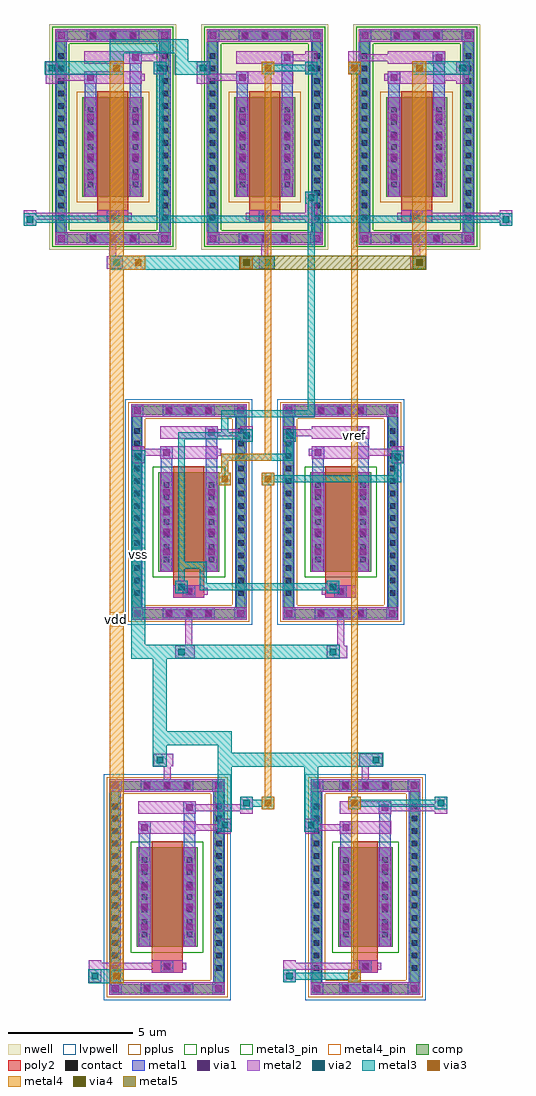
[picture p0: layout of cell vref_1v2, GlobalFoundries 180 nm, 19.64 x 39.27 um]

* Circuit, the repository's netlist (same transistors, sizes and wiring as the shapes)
.lib "/home/huda/.volare/gf180mcuD/libs.tech/ngspice/sm141064.ngspice" typical
.subckt vref_1v2 vdd vss vref
XM3  d1   d1   vdd  vdd  pfet_03v3 L=1.25u W=4u nf=1
XM4  d2   d1   vdd  vdd  pfet_03v3 L=1.25u W=4u nf=1
XM5  vref d1   vdd  vdd  pfet_03v3 L=1.25u W=4u nf=1
XM1  d1   d1   vss  vss  nfet_03v3 L=1.25u W=4u nf=1
XM2  d2   d1   src2 vss  nfet_03v3 L=1.25u W=4u nf=1
XM_r src2 vdd  vss  vss  nfet_03v3 L=1.25u W=4u nf=1
XM6  vref vref vss  vss  nfet_03v3 L=1u    W=4u nf=1
.ends

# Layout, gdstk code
import gdstk
lib = gdstk.Library(unit=1e-6, precision=5e-09)
def R(c, l, rs):  # rectangles x0, y0, x1, y1
    for r in rs: c.add(gdstk.rectangle(r[:2], r[2:], *l))
def A(c, l, x, y, w, h, nx, ny, dx, dy):  # array of equal rectangles
    R(c, l, [(x+i*dx, y+j*dy, x+i*dx+w, y+j*dy+h) for i in range(nx) for j in range(ny)])
def P(c, l, *ps):  # polygons
    for p in ps: c.add(gdstk.Polygon(p, *l))
nwell = (21, 0)
comp = (22, 0)
poly2 = (30, 0)
pplus = (31, 0)
nplus = (32, 0)
contact = (33, 0)
metal1 = (34, 0)
via1 = (35, 0)
metal2 = (36, 0)
via2 = (38, 0)
via3 = (40, 0)
via4 = (41, 0)
metal3 = (42, 0)
metal3_pin = (42, 10)
metal4 = (46, 0)
metal4_pin = (46, 10)
metal5 = (81, 0)
lvpwell = (204, 0)

vref_1v2 = lib.new_cell('vref_1v2')
A(vref_1v2, nwell, -8.665, 30.18, 5.11, 9.09, 3, 1, 6.11, 0)
A(vref_1v2, nwell, -8.505, 30.34, 4.79, 8.77, 3, 1, 6.11, 0)
A(vref_1v2, comp, -4.91, 0.28, 0.36, 0.36, 3, 2, 0.8, 8.17)
A(vref_1v2, comp, 3.075, 0.28, 0.36, 0.36, 3, 2, 0.8, 8.17)
A(vref_1v2, comp, -6.205, 1.115, 0.36, 0.36, 1, 14, 0, 0.5)
A(vref_1v2, comp, -2.015, 1.115, 0.36, 0.36, 1, 14, 0, 0.5)
A(vref_1v2, comp, 1.905, 1.115, 0.36, 0.36, 1, 14, 0, 0.5)
A(vref_1v2, comp, 5.845, 1.115, 0.36, 0.36, 1, 14, 0, 0.5)
A(vref_1v2, comp, -4.035, 15.37, 0.36, 0.36, 3, 2, 0.8, 8.17)
A(vref_1v2, comp, 2.075, 15.37, 0.36, 0.36, 3, 2, 0.8, 8.17)
A(vref_1v2, comp, -5.33, 16.205, 0.36, 0.36, 1, 14, 0, 0.5)
A(vref_1v2, comp, -1.14, 16.205, 0.36, 0.36, 1, 14, 0, 0.5)
A(vref_1v2, comp, 0.78, 16.205, 0.36, 0.36, 1, 14, 0, 0.5)
A(vref_1v2, comp, 4.97, 16.205, 0.36, 0.36, 1, 14, 0, 0.5)
A(vref_1v2, comp, -7.09, 30.46, 0.36, 0.36, 3, 2, 0.8, 8.17)
A(vref_1v2, comp, -7.09, 30.46, 1.96, 0.36, 3, 2, 6.11, 8.17)
A(vref_1v2, comp, -0.98, 30.46, 0.36, 0.36, 3, 2, 0.8, 8.17)
A(vref_1v2, comp, 5.13, 30.46, 0.36, 0.36, 3, 2, 0.8, 8.17)
A(vref_1v2, comp, -8.385, 31.295, 0.36, 0.36, 1, 14, 0, 0.5)
A(vref_1v2, comp, -4.195, 31.295, 0.36, 0.36, 1, 14, 0, 0.5)
A(vref_1v2, comp, -2.275, 31.295, 0.36, 0.36, 1, 14, 0, 0.5)
A(vref_1v2, comp, 1.915, 31.295, 0.36, 0.36, 1, 14, 0, 0.5)
A(vref_1v2, comp, 3.835, 31.295, 0.36, 0.36, 1, 14, 0, 0.5)
A(vref_1v2, comp, 8.025, 31.295, 0.36, 0.36, 1, 14, 0, 0.5)
A(vref_1v2, comp, -7.335, 32.32, 2.45, 4, 3, 1, 6.11, 0)
R(vref_1v2, comp, [(-4.91,0.28,-2.95,0.64), (3.075,0.28,5.035,0.64), (-6.205,1.115,-5.845,7.975), (-2.015,1.115,-1.655,7.975), (1.905,1.115,2.265,7.975), (5.845,1.115,6.205,7.975), (-5.155,2.14,-2.705,6.14), (2.955,2.14,5.155,6.14), (-4.91,8.45,-2.95,8.81), (3.075,8.45,5.035,8.81), (-4.035,15.37,-2.075,15.73), (2.075,15.37,4.035,15.73), (-5.33,16.205,-4.97,23.065), (-1.14,16.205,-0.78,23.065), (0.78,16.205,1.14,23.065), (4.97,16.205,5.33,23.065), (-4.28,17.23,-1.83,21.23), (1.83,17.23,4.28,21.23), (-4.035,23.54,-2.075,23.9), (2.075,23.54,4.035,23.9), (-8.385,31.295,-8.025,38.155), (-4.195,31.295,-3.835,38.155), (-2.275,31.295,-1.915,38.155), (1.915,31.295,2.275,38.155), (3.835,31.295,4.195,38.155), (8.025,31.295,8.385,38.155)])
P(vref_1v2, comp, [(-3.835,38.99),(-8.385,38.99),(-8.385,30.82),(-8.025,30.82),(-8.025,38.63),(-4.195,38.63),(-4.195,30.82),(-8.025,30.82),(-8.385,30.82),(-8.385,30.46),(-3.835,30.46)],
  [(6.205,8.81),(1.905,8.81),(1.905,0.64),(2.265,0.64),(2.265,8.45),(5.845,8.45),(5.845,0.64),(2.265,0.64),(1.905,0.64),(1.905,0.28),(6.205,0.28)],
  [(-1.655,8.81),(-6.205,8.81),(-6.205,0.64),(-5.845,0.64),(-5.845,8.45),(-2.015,8.45),(-2.015,0.64),(-5.845,0.64),(-6.205,0.64),(-6.205,0.28),(-1.655,0.28)],
  [(5.33,23.9),(0.78,23.9),(0.78,15.73),(1.14,15.73),(1.14,23.54),(4.97,23.54),(4.97,15.73),(1.14,15.73),(0.78,15.73),(0.78,15.37),(5.33,15.37)],
  [(-0.78,23.9),(-5.33,23.9),(-5.33,15.73),(-4.97,15.73),(-4.97,23.54),(-1.14,23.54),(-1.14,15.73),(-4.97,15.73),(-5.33,15.73),(-5.33,15.37),(-0.78,15.37)],
  [(8.385,38.99),(3.835,38.99),(3.835,30.82),(4.195,30.82),(4.195,38.63),(8.025,38.63),(8.025,30.82),(4.195,30.82),(3.835,30.82),(3.835,30.46),(8.385,30.46)],
  [(2.275,38.99),(-2.275,38.99),(-2.275,30.82),(-1.915,30.82),(-1.915,38.63),(1.915,38.63),(1.915,30.82),(-1.915,30.82),(-2.275,30.82),(-2.275,30.46),(2.275,30.46)])
A(vref_1v2, poly2, -6.735, 31.28, 1.25, 0.5, 3, 1, 6.11, 0)
A(vref_1v2, poly2, -6.29, 31.35, 0.36, 0.36, 3, 1, 6.11, 0)
A(vref_1v2, poly2, -6.735, 31.78, 1.25, 0.3, 3, 1, 6.11, 0)
A(vref_1v2, poly2, -6.735, 32.08, 1.25, 4.48, 3, 1, 6.11, 0)
R(vref_1v2, poly2, [(-4.555,1.1,-3.305,1.6), (3.555,1.1,4.555,1.6), (-4.11,1.17,-3.75,1.53), (3.875,1.17,4.235,1.53), (-4.555,1.6,-3.305,1.9), (3.555,1.6,4.555,1.9), (-4.555,1.9,-3.305,6.38), (3.555,1.9,4.555,6.38), (-3.68,16.19,-2.43,16.69), (2.43,16.19,3.68,16.69), (-3.235,16.26,-2.875,16.62), (2.875,16.26,3.235,16.62), (-3.68,16.69,-2.43,16.99), (2.43,16.69,3.68,16.99), (-3.68,16.99,-2.43,21.47), (2.43,16.99,3.68,21.47)])
A(vref_1v2, pplus, -7.565, 32.09, 2.91, 4.46, 3, 1, 6.11, 0)
P(vref_1v2, pplus, [(6.365,8.97),(1.745,8.97),(1.745,0.8),(2.425,0.8),(2.425,8.29),(5.685,8.29),(5.685,0.8),(2.425,0.8),(1.745,0.8),(1.745,0.12),(6.365,0.12)],
  [(-1.495,8.97),(-6.365,8.97),(-6.365,0.8),(-5.685,0.8),(-5.685,8.29),(-2.175,8.29),(-2.175,0.8),(-5.685,0.8),(-6.365,0.8),(-6.365,0.12),(-1.495,0.12)],
  [(5.49,24.06),(0.62,24.06),(0.62,15.89),(1.3,15.89),(1.3,23.38),(4.81,23.38),(4.81,15.89),(1.3,15.89),(0.62,15.89),(0.62,15.21),(5.49,15.21)],
  [(-0.62,24.06),(-5.49,24.06),(-5.49,15.89),(-4.81,15.89),(-4.81,23.38),(-1.3,23.38),(-1.3,15.89),(-4.81,15.89),(-5.49,15.89),(-5.49,15.21),(-0.62,15.21)])
R(vref_1v2, nplus, [(-5.385,1.91,-2.475,6.37), (2.725,1.91,5.385,6.37), (-4.51,17,-1.6,21.46), (1.6,17,4.51,21.46)])
P(vref_1v2, nplus, [(-3.675,39.15),(-8.545,39.15),(-8.545,30.98),(-7.865,30.98),(-7.865,38.47),(-4.355,38.47),(-4.355,30.98),(-7.865,30.98),(-8.545,30.98),(-8.545,30.3),(-3.675,30.3)],
  [(8.545,39.15),(3.675,39.15),(3.675,30.98),(4.355,30.98),(4.355,38.47),(7.865,38.47),(7.865,30.98),(4.355,30.98),(3.675,30.98),(3.675,30.3),(8.545,30.3)],
  [(2.435,39.15),(-2.435,39.15),(-2.435,30.98),(-1.755,30.98),(-1.755,38.47),(1.755,38.47),(1.755,30.98),(-1.755,30.98),(-2.435,30.98),(-2.435,30.3),(2.435,30.3)])
A(vref_1v2, contact, -4.84, 0.35, 0.22, 0.22, 3, 2, 0.8, 8.17)
A(vref_1v2, contact, 3.145, 0.35, 0.22, 0.22, 3, 2, 0.8, 8.17)
A(vref_1v2, contact, -6.135, 1.185, 0.22, 0.22, 1, 14, 0, 0.5)
A(vref_1v2, contact, -1.945, 1.185, 0.22, 0.22, 1, 14, 0, 0.5)
A(vref_1v2, contact, 1.975, 1.185, 0.22, 0.22, 1, 14, 0, 0.5)
A(vref_1v2, contact, 5.915, 1.185, 0.22, 0.22, 1, 14, 0, 0.5)
A(vref_1v2, contact, -4.945, 2.53, 0.22, 0.22, 1, 7, 0, 0.5)
A(vref_1v2, contact, -3.135, 2.53, 0.22, 0.22, 1, 7, 0, 0.5)
A(vref_1v2, contact, 3.165, 2.53, 0.22, 0.22, 1, 7, 0, 0.5)
A(vref_1v2, contact, 4.725, 2.53, 0.22, 0.22, 1, 7, 0, 0.5)
A(vref_1v2, contact, -3.965, 15.44, 0.22, 0.22, 3, 2, 0.8, 8.17)
A(vref_1v2, contact, 2.145, 15.44, 0.22, 0.22, 3, 2, 0.8, 8.17)
A(vref_1v2, contact, -5.26, 16.275, 0.22, 0.22, 1, 14, 0, 0.5)
A(vref_1v2, contact, -1.07, 16.275, 0.22, 0.22, 1, 14, 0, 0.5)
A(vref_1v2, contact, 0.85, 16.275, 0.22, 0.22, 1, 14, 0, 0.5)
A(vref_1v2, contact, 5.04, 16.275, 0.22, 0.22, 1, 14, 0, 0.5)
A(vref_1v2, contact, -4.07, 17.62, 0.22, 0.22, 1, 7, 0, 0.5)
A(vref_1v2, contact, -2.26, 17.62, 0.22, 0.22, 1, 7, 0, 0.5)
A(vref_1v2, contact, 2.04, 17.62, 0.22, 0.22, 1, 7, 0, 0.5)
A(vref_1v2, contact, 3.85, 17.62, 0.22, 0.22, 1, 7, 0, 0.5)
A(vref_1v2, contact, -7.02, 30.53, 0.22, 0.22, 3, 2, 0.8, 8.17)
A(vref_1v2, contact, -0.91, 30.53, 0.22, 0.22, 3, 2, 0.8, 8.17)
A(vref_1v2, contact, 5.2, 30.53, 0.22, 0.22, 3, 2, 0.8, 8.17)
A(vref_1v2, contact, -8.315, 31.365, 0.22, 0.22, 1, 14, 0, 0.5)
A(vref_1v2, contact, -4.125, 31.365, 0.22, 0.22, 1, 14, 0, 0.5)
A(vref_1v2, contact, -2.205, 31.365, 0.22, 0.22, 1, 14, 0, 0.5)
A(vref_1v2, contact, 1.985, 31.365, 0.22, 0.22, 1, 14, 0, 0.5)
A(vref_1v2, contact, 3.905, 31.365, 0.22, 0.22, 1, 14, 0, 0.5)
A(vref_1v2, contact, 8.095, 31.365, 0.22, 0.22, 1, 14, 0, 0.5)
A(vref_1v2, contact, -6.22, 31.42, 0.22, 0.22, 3, 1, 6.11, 0)
A(vref_1v2, contact, -7.125, 32.71, 0.22, 0.22, 1, 7, 0, 0.5)
A(vref_1v2, contact, -5.315, 32.71, 0.22, 0.22, 1, 7, 0, 0.5)
A(vref_1v2, contact, -1.015, 32.71, 0.22, 0.22, 1, 7, 0, 0.5)
A(vref_1v2, contact, 0.795, 32.71, 0.22, 0.22, 1, 7, 0, 0.5)
A(vref_1v2, contact, 5.095, 32.71, 0.22, 0.22, 1, 7, 0, 0.5)
A(vref_1v2, contact, 6.905, 32.71, 0.22, 0.22, 1, 7, 0, 0.5)
R(vref_1v2, contact, [(-4.04,1.24,-3.82,1.46), (3.945,1.24,4.165,1.46), (-3.165,16.33,-2.945,16.55), (2.945,16.33,3.165,16.55)])
A(vref_1v2, metal1, -4.98, 0.21, 0.5, 0.5, 3, 2, 0.8, 8.17)
A(vref_1v2, metal1, 3.005, 0.21, 0.5, 0.5, 3, 2, 0.8, 8.17)
A(vref_1v2, metal1, -6.255, 1.065, 0.46, 0.46, 1, 14, 0, 0.5)
A(vref_1v2, metal1, -2.065, 1.065, 0.46, 0.46, 1, 14, 0, 0.5)
A(vref_1v2, metal1, 1.855, 1.065, 0.46, 0.46, 1, 14, 0, 0.5)
A(vref_1v2, metal1, 5.795, 1.065, 0.46, 0.46, 1, 14, 0, 0.5)
A(vref_1v2, metal1, -5.065, 2.41, 0.46, 0.46, 1, 7, 0, 0.5)
A(vref_1v2, metal1, -3.255, 2.41, 0.46, 0.46, 1, 7, 0, 0.5)
A(vref_1v2, metal1, 3.045, 2.41, 0.46, 0.46, 1, 7, 0, 0.5)
A(vref_1v2, metal1, 4.605, 2.41, 0.46, 0.46, 1, 7, 0, 0.5)
A(vref_1v2, metal1, -5.085, 2.69, 0.5, 0.5, 1, 4, 0, 0.8)
A(vref_1v2, metal1, -3.275, 2.69, 0.5, 0.5, 1, 4, 0, 0.8)
A(vref_1v2, metal1, 3.025, 2.69, 0.5, 0.5, 1, 4, 0, 0.8)
A(vref_1v2, metal1, 4.585, 2.69, 0.5, 0.5, 1, 4, 0, 0.8)
A(vref_1v2, metal1, -4.105, 15.3, 0.5, 0.5, 3, 2, 0.8, 8.17)
A(vref_1v2, metal1, 2.005, 15.3, 0.5, 0.5, 3, 2, 0.8, 8.17)
A(vref_1v2, metal1, -5.38, 16.155, 0.46, 0.46, 1, 14, 0, 0.5)
A(vref_1v2, metal1, -1.19, 16.155, 0.46, 0.46, 1, 14, 0, 0.5)
A(vref_1v2, metal1, 0.73, 16.155, 0.46, 0.46, 1, 14, 0, 0.5)
A(vref_1v2, metal1, 4.92, 16.155, 0.46, 0.46, 1, 14, 0, 0.5)
A(vref_1v2, metal1, -4.19, 17.5, 0.46, 0.46, 1, 7, 0, 0.5)
A(vref_1v2, metal1, -2.38, 17.5, 0.46, 0.46, 1, 7, 0, 0.5)
A(vref_1v2, metal1, 1.92, 17.5, 0.46, 0.46, 1, 7, 0, 0.5)
A(vref_1v2, metal1, 3.73, 17.5, 0.46, 0.46, 1, 7, 0, 0.5)
A(vref_1v2, metal1, -4.21, 17.78, 0.5, 0.5, 1, 4, 0, 0.8)
A(vref_1v2, metal1, -2.4, 17.78, 0.5, 0.5, 1, 4, 0, 0.8)
A(vref_1v2, metal1, 1.9, 17.78, 0.5, 0.5, 1, 4, 0, 0.8)
A(vref_1v2, metal1, 3.71, 17.78, 0.5, 0.5, 1, 4, 0, 0.8)
A(vref_1v2, metal1, -7.16, 30.39, 0.5, 0.5, 3, 2, 0.8, 8.17)
A(vref_1v2, metal1, -7.16, 30.39, 2.1, 0.5, 3, 2, 6.11, 8.17)
A(vref_1v2, metal1, -1.05, 30.39, 0.5, 0.5, 3, 2, 0.8, 8.17)
A(vref_1v2, metal1, 5.06, 30.39, 0.5, 0.5, 3, 2, 0.8, 8.17)
A(vref_1v2, metal1, -8.435, 31.245, 0.46, 0.46, 1, 14, 0, 0.5)
A(vref_1v2, metal1, -4.245, 31.245, 0.46, 0.46, 1, 14, 0, 0.5)
A(vref_1v2, metal1, -2.325, 31.245, 0.46, 0.46, 1, 14, 0, 0.5)
A(vref_1v2, metal1, 1.865, 31.245, 0.46, 0.46, 1, 14, 0, 0.5)
A(vref_1v2, metal1, 3.785, 31.245, 0.46, 0.46, 1, 14, 0, 0.5)
A(vref_1v2, metal1, 7.975, 31.245, 0.46, 0.46, 1, 14, 0, 0.5)
A(vref_1v2, metal1, -6.36, 31.28, 0.5, 0.5, 3, 1, 6.11, 0)
A(vref_1v2, metal1, -7.245, 32.59, 0.46, 0.46, 1, 7, 0, 0.5)
A(vref_1v2, metal1, -5.435, 32.59, 0.46, 0.46, 1, 7, 0, 0.5)
A(vref_1v2, metal1, -1.135, 32.59, 0.46, 0.46, 1, 7, 0, 0.5)
A(vref_1v2, metal1, 0.675, 32.59, 0.46, 0.46, 1, 7, 0, 0.5)
A(vref_1v2, metal1, 4.975, 32.59, 0.46, 0.46, 1, 7, 0, 0.5)
A(vref_1v2, metal1, 6.785, 32.59, 0.46, 0.46, 1, 7, 0, 0.5)
A(vref_1v2, metal1, -7.265, 32.87, 0.5, 0.5, 1, 4, 0, 0.8)
A(vref_1v2, metal1, -5.455, 32.87, 0.5, 0.5, 1, 4, 0, 0.8)
A(vref_1v2, metal1, -1.155, 32.87, 0.5, 0.5, 1, 4, 0, 0.8)
A(vref_1v2, metal1, 0.655, 32.87, 0.5, 0.5, 1, 4, 0, 0.8)
A(vref_1v2, metal1, 4.955, 32.87, 0.5, 0.5, 1, 4, 0, 0.8)
A(vref_1v2, metal1, 6.765, 32.87, 0.5, 0.5, 1, 4, 0, 0.8)
A(vref_1v2, metal1, -7.245, 36.32, 0.46, 1.05, 3, 1, 6.11, 0)
A(vref_1v2, metal1, -5.435, 36.32, 0.46, 1.85, 3, 1, 6.11, 0)
A(vref_1v2, metal1, -7.265, 36.87, 0.5, 0.5, 3, 1, 6.11, 0)
A(vref_1v2, metal1, -5.455, 37.67, 0.5, 0.5, 3, 1, 6.11, 0)
R(vref_1v2, metal1, [(-6.255,0.21,-5.755,0.71), (-6.255,0.21,-5.755,0.71), (-6.255,0.21,-5.795,0.64), (-4.98,0.21,-2.88,0.71), (-2.105,0.21,-1.605,0.71), (-2.105,0.21,-1.605,0.71), (-2.065,0.21,-1.605,0.64), (1.855,0.21,2.355,0.71), (1.855,0.21,2.355,0.71), (1.855,0.21,2.315,0.64), (3.005,0.21,5.105,0.71), (5.755,0.21,6.255,0.71), (5.755,0.21,6.255,0.71), (5.795,0.21,6.255,0.64), (-6.255,0.64,-5.795,8.45), (-2.065,0.64,-1.605,8.45), (1.855,0.64,2.315,8.45), (5.795,0.64,6.255,8.45), (-4.18,1.1,-3.68,1.6), (3.805,1.1,4.305,1.6), (-5.065,2.14,-4.605,6.14), (-3.255,2.14,-2.795,6.14), (3.045,2.14,3.505,6.14), (4.605,2.14,5.065,6.14), (-5.085,2.69,-4.585,5.59), (-3.275,2.69,-2.775,5.59), (3.025,2.69,3.525,5.59), (4.585,2.69,5.085,5.59), (-5.065,6.14,-4.605,7.19), (-3.255,6.14,-2.795,7.99), (3.045,6.14,3.505,7.19), (4.605,6.14,5.065,7.99), (-5.085,6.69,-4.585,7.19), (3.025,6.69,3.525,7.19), (-3.275,7.49,-2.775,7.99), (4.585,7.49,5.085,7.99), (-6.255,8.38,-5.755,8.88), (-6.255,8.38,-5.755,8.88), (-4.98,8.38,-2.88,8.88), (-2.105,8.38,-1.605,8.88), (-2.105,8.38,-1.605,8.88), (1.855,8.38,2.355,8.88), (1.855,8.38,2.355,8.88), (3.005,8.38,5.105,8.88), (5.755,8.38,6.255,8.88), (5.755,8.38,6.255,8.88), (-6.255,8.45,-5.795,8.88), (-2.065,8.45,-1.605,8.88), (1.855,8.45,2.315,8.88), (5.795,8.45,6.255,8.88), (-5.38,15.3,-4.88,15.8), (-5.38,15.3,-4.88,15.8), (-5.38,15.3,-4.92,15.73), (-4.105,15.3,-2.005,15.8), (-1.23,15.3,-0.73,15.8), (-1.23,15.3,-0.73,15.8), (-1.19,15.3,-0.73,15.73), (0.73,15.3,1.23,15.8), (0.73,15.3,1.23,15.8), (0.73,15.3,1.19,15.73), (2.005,15.3,4.105,15.8), (4.88,15.3,5.38,15.8), (4.88,15.3,5.38,15.8), (4.92,15.3,5.38,15.73), (-5.38,15.73,-4.92,23.54), (-1.19,15.73,-0.73,23.54), (0.73,15.73,1.19,23.54), (4.92,15.73,5.38,23.54), (-3.305,16.19,-2.805,16.69), (2.805,16.19,3.305,16.69), (-4.19,17.23,-3.73,21.23), (-2.38,17.23,-1.92,21.23), (1.92,17.23,2.38,21.23), (3.73,17.23,4.19,21.23), (-4.21,17.78,-3.71,20.68), (-2.4,17.78,-1.9,20.68), (1.9,17.78,2.4,20.68), (3.71,17.78,4.21,20.68), (-4.19,21.23,-3.73,22.28), (-2.38,21.23,-1.92,23.08), (1.92,21.23,2.38,22.28), (3.73,21.23,4.19,23.08), (-4.21,21.78,-3.71,22.28), (1.9,21.78,2.4,22.28), (-2.4,22.58,-1.9,23.08), (3.71,22.58,4.21,23.08), (-5.38,23.47,-4.88,23.97), (-5.38,23.47,-4.88,23.97), (-4.105,23.47,-2.005,23.97), (-1.23,23.47,-0.73,23.97), (-1.23,23.47,-0.73,23.97), (0.73,23.47,1.23,23.97), (0.73,23.47,1.23,23.97), (2.005,23.47,4.105,23.97), (4.88,23.47,5.38,23.97), (4.88,23.47,5.38,23.97), (-5.38,23.54,-4.92,23.97), (-1.19,23.54,-0.73,23.97), (0.73,23.54,1.19,23.97), (4.92,23.54,5.38,23.97), (-8.435,30.39,-7.935,30.89), (-8.435,30.39,-7.935,30.89), (-8.435,30.39,-7.975,30.82), (-4.285,30.39,-3.785,30.89), (-4.285,30.39,-3.785,30.89), (-4.245,30.39,-3.785,30.82), (-2.325,30.39,-1.825,30.89), (-2.325,30.39,-1.825,30.89), (-2.325,30.39,-1.865,30.82), (1.825,30.39,2.325,30.89), (1.825,30.39,2.325,30.89), (1.865,30.39,2.325,30.82), (3.785,30.39,4.285,30.89), (3.785,30.39,4.285,30.89), (3.785,30.39,4.245,30.82), (7.935,30.39,8.435,30.89), (7.935,30.39,8.435,30.89), (7.975,30.39,8.435,30.82), (-8.435,30.82,-7.975,38.63), (-4.245,30.82,-3.785,38.63), (-2.325,30.82,-1.865,38.63), (1.865,30.82,2.325,38.63), (3.785,30.82,4.245,38.63), (7.975,30.82,8.435,38.63), (-7.245,32.32,-6.785,36.32), (-5.435,32.32,-4.975,36.32), (-1.135,32.32,-0.675,36.32), (0.675,32.32,1.135,36.32), (4.975,32.32,5.435,36.32), (6.785,32.32,7.245,36.32), (-7.265,32.87,-6.765,35.77), (-5.455,32.87,-4.955,35.77), (-1.155,32.87,-0.655,35.77), (0.655,32.87,1.155,35.77), (4.955,32.87,5.455,35.77), (6.765,32.87,7.265,35.77), (-8.435,38.56,-7.935,39.06), (-8.435,38.56,-7.935,39.06), (-4.285,38.56,-3.785,39.06), (-4.285,38.56,-3.785,39.06), (-2.325,38.56,-1.825,39.06), (-2.325,38.56,-1.825,39.06), (1.825,38.56,2.325,39.06), (1.825,38.56,2.325,39.06), (3.785,38.56,4.285,39.06), (3.785,38.56,4.285,39.06), (7.935,38.56,8.435,39.06), (7.935,38.56,8.435,39.06), (-8.435,38.63,-7.975,39.06), (-4.245,38.63,-3.785,39.06), (-2.325,38.63,-1.865,39.06), (1.865,38.63,2.325,39.06), (3.785,38.63,4.245,39.06), (7.975,38.63,8.435,39.06)])
A(vref_1v2, via1, -4.86, 0.33, 0.26, 0.26, 3, 2, 0.8, 8.17)
A(vref_1v2, via1, 3.125, 0.33, 0.26, 0.26, 3, 2, 0.8, 8.17)
A(vref_1v2, via1, -4.965, 2.81, 0.26, 0.26, 1, 4, 0, 0.8)
A(vref_1v2, via1, -3.155, 2.81, 0.26, 0.26, 1, 4, 0, 0.8)
A(vref_1v2, via1, 3.145, 2.81, 0.26, 0.26, 1, 4, 0, 0.8)
A(vref_1v2, via1, 4.705, 2.81, 0.26, 0.26, 1, 4, 0, 0.8)
A(vref_1v2, via1, -3.985, 15.42, 0.26, 0.26, 3, 2, 0.8, 8.17)
A(vref_1v2, via1, 2.125, 15.42, 0.26, 0.26, 3, 2, 0.8, 8.17)
A(vref_1v2, via1, -4.09, 17.9, 0.26, 0.26, 1, 4, 0, 0.8)
A(vref_1v2, via1, -2.28, 17.9, 0.26, 0.26, 1, 4, 0, 0.8)
A(vref_1v2, via1, 2.02, 17.9, 0.26, 0.26, 1, 4, 0, 0.8)
A(vref_1v2, via1, 3.83, 17.9, 0.26, 0.26, 1, 4, 0, 0.8)
A(vref_1v2, via1, -7.04, 30.51, 0.26, 0.26, 3, 2, 0.8, 8.17)
A(vref_1v2, via1, -0.93, 30.51, 0.26, 0.26, 3, 2, 0.8, 8.17)
A(vref_1v2, via1, 5.18, 30.51, 0.26, 0.26, 3, 2, 0.8, 8.17)
A(vref_1v2, via1, -6.24, 31.4, 0.26, 0.26, 3, 1, 6.11, 0)
A(vref_1v2, via1, -7.145, 32.99, 0.26, 0.26, 1, 4, 0, 0.8)
A(vref_1v2, via1, -5.335, 32.99, 0.26, 0.26, 1, 4, 0, 0.8)
A(vref_1v2, via1, -1.035, 32.99, 0.26, 0.26, 1, 4, 0, 0.8)
A(vref_1v2, via1, 0.775, 32.99, 0.26, 0.26, 1, 4, 0, 0.8)
A(vref_1v2, via1, 5.075, 32.99, 0.26, 0.26, 1, 4, 0, 0.8)
A(vref_1v2, via1, 6.885, 32.99, 0.26, 0.26, 1, 4, 0, 0.8)
A(vref_1v2, via1, -7.145, 36.99, 0.26, 0.26, 3, 1, 6.11, 0)
A(vref_1v2, via1, -5.335, 37.79, 0.26, 0.26, 3, 1, 6.11, 0)
R(vref_1v2, via1, [(-6.135,0.33,-5.875,0.59), (-1.985,0.33,-1.725,0.59), (1.975,0.33,2.235,0.59), (5.875,0.33,6.135,0.59), (-4.06,1.22,-3.8,1.48), (3.925,1.22,4.185,1.48), (-4.965,6.81,-4.705,7.07), (3.145,6.81,3.405,7.07), (-3.155,7.61,-2.895,7.87), (4.705,7.61,4.965,7.87), (-6.135,8.5,-5.875,8.76), (-1.985,8.5,-1.725,8.76), (1.975,8.5,2.235,8.76), (5.875,8.5,6.135,8.76), (-5.26,15.42,-5,15.68), (-1.11,15.42,-0.85,15.68), (0.85,15.42,1.11,15.68), (5,15.42,5.26,15.68), (-3.185,16.31,-2.925,16.57), (2.925,16.31,3.185,16.57), (-4.09,21.9,-3.83,22.16), (2.02,21.9,2.28,22.16), (-2.28,22.7,-2.02,22.96), (3.83,22.7,4.09,22.96), (-5.26,23.59,-5,23.85), (-1.11,23.59,-0.85,23.85), (0.85,23.59,1.11,23.85), (5,23.59,5.26,23.85), (-8.315,30.51,-8.055,30.77), (-4.165,30.51,-3.905,30.77), (-2.205,30.51,-1.945,30.77), (1.945,30.51,2.205,30.77), (3.905,30.51,4.165,30.77), (8.055,30.51,8.315,30.77), (-8.315,38.68,-8.055,38.94), (-4.165,38.68,-3.905,38.94), (-2.205,38.68,-1.945,38.94), (1.945,38.68,2.205,38.94), (3.905,38.68,4.165,38.94), (8.055,38.68,8.315,38.94)])
A(vref_1v2, metal2, -4.98, 0.21, 0.5, 0.5, 3, 2, 0.8, 8.17)
A(vref_1v2, metal2, 3.005, 0.21, 0.5, 0.5, 3, 2, 0.8, 8.17)
A(vref_1v2, metal2, -5.085, 2.69, 0.5, 0.5, 1, 4, 0, 0.8)
A(vref_1v2, metal2, -3.275, 2.69, 0.5, 0.5, 1, 4, 0, 0.8)
A(vref_1v2, metal2, 3.025, 2.69, 0.5, 0.5, 1, 4, 0, 0.8)
A(vref_1v2, metal2, 4.585, 2.69, 0.5, 0.5, 1, 4, 0, 0.8)
A(vref_1v2, metal2, -4.105, 15.3, 0.5, 0.5, 3, 2, 0.8, 8.17)
A(vref_1v2, metal2, 2.005, 15.3, 0.5, 0.5, 3, 2, 0.8, 8.17)
A(vref_1v2, metal2, -4.21, 17.78, 0.5, 0.5, 1, 4, 0, 0.8)
A(vref_1v2, metal2, -2.4, 17.78, 0.5, 0.5, 1, 4, 0, 0.8)
A(vref_1v2, metal2, 1.9, 17.78, 0.5, 0.5, 1, 4, 0, 0.8)
A(vref_1v2, metal2, 3.71, 17.78, 0.5, 0.5, 1, 4, 0, 0.8)
A(vref_1v2, metal2, -6.21, 29.42, 0.5, 0.5, 3, 1, 6.09, 0)
A(vref_1v2, metal2, -6.25, 29.53, 0.28, 1, 3, 1, 6.11, 0)
A(vref_1v2, metal2, -8.025, 30.39, 3.83, 0.5, 3, 2, 6.11, 8.17)
A(vref_1v2, metal2, -7.16, 30.39, 0.5, 0.5, 3, 2, 0.8, 8.17)
A(vref_1v2, metal2, -1.05, 30.39, 0.5, 0.5, 3, 2, 0.8, 8.17)
A(vref_1v2, metal2, 5.06, 30.39, 0.5, 0.5, 3, 2, 0.8, 8.17)
A(vref_1v2, metal2, -6.735, 31.28, 1.25, 0.5, 3, 1, 6.11, 0)
A(vref_1v2, metal2, -6.36, 31.28, 0.5, 0.5, 3, 1, 6.11, 0)
A(vref_1v2, metal2, -7.265, 32.87, 0.5, 0.5, 1, 4, 0, 0.8)
A(vref_1v2, metal2, -5.455, 32.87, 0.5, 0.5, 1, 4, 0, 0.8)
A(vref_1v2, metal2, -1.155, 32.87, 0.5, 0.5, 1, 4, 0, 0.8)
A(vref_1v2, metal2, 0.655, 32.87, 0.5, 0.5, 1, 4, 0, 0.8)
A(vref_1v2, metal2, 4.955, 32.87, 0.5, 0.5, 1, 4, 0, 0.8)
A(vref_1v2, metal2, 6.765, 32.87, 0.5, 0.5, 1, 4, 0, 0.8)
A(vref_1v2, metal2, -7.265, 36.87, 0.5, 0.5, 3, 1, 6.11, 0)
A(vref_1v2, metal2, -7.265, 36.87, 2.31, 0.5, 3, 2, 6.11, 0.8)
A(vref_1v2, metal2, -5.455, 37.67, 0.5, 0.5, 3, 1, 6.11, 0)
R(vref_1v2, metal2, [(-6.255,0.21,-5.755,0.71), (-6.255,0.21,-5.755,0.71), (-6.255,0.21,-5.845,0.71), (-5.845,0.21,-2.015,0.71), (-2.105,0.21,-1.605,0.71), (-2.105,0.21,-1.605,0.71), (-2.015,0.21,-1.605,0.71), (1.855,0.21,2.355,0.71), (1.855,0.21,2.355,0.71), (1.855,0.21,2.265,0.71), (2.265,0.21,5.845,0.71), (5.755,0.21,6.255,0.71), (5.755,0.21,6.255,0.71), (5.845,0.21,6.255,0.71), (-7.08,0.71,-6.58,1.6), (-7.08,0.71,-6.58,1.21), (0.75,0.71,1.25,1.6), (0.75,0.71,1.25,1.21), (-4.555,1.1,-3.305,1.6), (-4.18,1.1,-3.68,1.6), (3.555,1.1,4.555,1.6), (3.805,1.1,4.305,1.6), (-6.97,1.21,-3.16,1.49), (0.86,1.21,4.69,1.49), (-5.085,2.14,-4.585,6.14), (-3.275,2.14,-2.775,6.14), (3.025,2.14,3.525,6.14), (4.585,2.14,5.085,6.14), (-5.085,6.69,-4.585,7.19), (-5.085,6.69,-2.775,7.19), (-1.86,6.69,-1.36,7.3), (1.62,6.69,2.12,7.3), (3.025,6.69,3.525,7.19), (3.025,6.69,5.085,7.19), (-2.92,6.8,-1.47,7.08), (-1.86,6.8,-1.36,7.3), (1.62,6.8,2.12,7.3), (1.73,6.8,3.16,7.08), (-5.085,7.49,-2.775,7.99), (-3.275,7.49,-2.775,7.99), (-0.99,7.49,-0.49,8.17), (3.025,7.49,5.085,7.99), (4.585,7.49,5.085,7.99), (6.84,7.49,7.34,8.17), (-2.92,7.6,-0.6,7.88), (4.94,7.6,7.23,7.88), (-0.99,7.67,-0.49,8.17), (6.84,7.67,7.34,8.17), (-6.255,8.38,-5.755,8.88), (-6.255,8.38,-5.755,8.88), (-6.255,8.38,-5.845,8.88), (-5.845,8.38,-2.015,8.88), (-2.105,8.38,-1.605,8.88), (-2.105,8.38,-1.605,8.88), (-2.015,8.38,-1.605,8.88), (1.855,8.38,2.355,8.88), (1.855,8.38,2.355,8.88), (1.855,8.38,2.265,8.88), (2.265,8.38,5.845,8.88), (5.755,8.38,6.255,8.88), (5.755,8.38,6.255,8.88), (5.845,8.38,6.255,8.88), (-4.07,8.74,-3.79,9.8), (3.91,8.74,4.19,9.8), (-4.47,9.41,-3.68,9.91), (-4.47,9.41,-3.97,9.91), (3.8,9.41,4.73,9.91), (4.23,9.41,4.73,9.91), (-3.6,13.76,-2.81,14.26), (-3.6,13.76,-3.1,14.26), (2.49,13.76,3.31,14.26), (2.49,13.76,2.99,14.26), (-3.2,13.87,-2.92,15.44), (2.92,13.87,3.2,15.44), (-5.38,15.3,-4.88,15.8), (-5.38,15.3,-4.88,15.8), (-5.38,15.3,-4.97,15.8), (-4.97,15.3,-1.14,15.8), (-1.23,15.3,-0.73,15.8), (-1.23,15.3,-0.73,15.8), (-1.14,15.3,-0.73,15.8), (0.73,15.3,1.23,15.8), (0.73,15.3,1.23,15.8), (0.73,15.3,1.14,15.8), (1.14,15.3,4.97,15.8), (4.88,15.3,5.38,15.8), (4.88,15.3,5.38,15.8), (4.97,15.3,5.38,15.8), (-3.68,16.19,-2.43,16.69), (-3.6,16.19,-3.1,16.87), (-3.305,16.19,-2.805,16.69), (2.43,16.19,3.68,16.69), (2.49,16.19,2.99,16.87), (2.805,16.19,3.305,16.69), (-3.49,16.3,-2.29,16.58), (2.29,16.3,2.88,16.58), (-3.6,16.37,-3.1,16.87), (2.49,16.37,2.99,16.87), (-4.21,17.23,-3.71,21.23), (-2.4,17.23,-1.9,21.23), (1.9,17.23,2.4,21.23), (3.71,17.23,4.21,21.23), (-5.34,21.59,-4.84,22.28), (-5.34,21.59,-4.84,22.09), (5.1,21.59,5.6,22.28), (5.1,21.59,5.6,22.09), (-4.21,21.78,-3.71,22.28), (-4.21,21.78,-1.9,22.28), (1.9,21.78,2.4,22.28), (1.9,21.78,4.21,22.28), (-5.23,21.89,-1.76,22.17), (1.76,21.89,5.49,22.17), (-0.99,22.46,-0.49,23.08), (-0.99,22.46,-0.49,22.96), (0.75,22.46,1.25,23.08), (0.75,22.46,1.25,22.96), (-4.21,22.58,-1.9,23.08), (-2.4,22.58,-1.9,23.08), (1.9,22.58,4.21,23.08), (3.71,22.58,4.21,23.08), (-2.04,22.69,-0.6,22.97), (0.86,22.69,2.04,22.97), (-5.38,23.47,-4.88,23.97), (-5.38,23.47,-4.88,23.97), (-5.38,23.47,-4.97,23.97), (-4.97,23.47,-1.14,23.97), (-1.23,23.47,-0.73,23.97), (-1.23,23.47,-0.73,23.97), (-1.14,23.47,-0.73,23.97), (0.73,23.47,1.23,23.97), (0.73,23.47,1.23,23.97), (0.73,23.47,1.14,23.97), (1.14,23.47,4.97,23.97), (4.88,23.47,5.38,23.97), (4.88,23.47,5.38,23.97), (4.97,23.47,5.38,23.97), (-6.36,29.42,-5.71,29.92), (-0.25,29.42,0.38,29.92), (5.86,29.42,6.47,29.92), (-8.435,30.39,-7.935,30.89), (-8.435,30.39,-7.935,30.89), (-8.435,30.39,-8.025,30.89), (-4.285,30.39,-3.785,30.89), (-4.285,30.39,-3.785,30.89), (-4.195,30.39,-3.785,30.89), (-2.325,30.39,-1.825,30.89), (-2.325,30.39,-1.825,30.89), (-2.325,30.39,-1.915,30.89), (1.825,30.39,2.325,30.89), (1.825,30.39,2.325,30.89), (1.915,30.39,2.325,30.89), (3.785,30.39,4.285,30.89), (3.785,30.39,4.285,30.89), (3.785,30.39,4.195,30.89), (7.935,30.39,8.435,30.89), (7.935,30.39,8.435,30.89), (8.025,30.39,8.435,30.89), (-9.69,31.16,-9.19,31.78), (-9.69,31.16,-9.19,31.66), (9.45,31.16,9.95,31.78), (9.45,31.16,9.95,31.66), (1.62,31.28,2.12,32.53), (-9.58,31.39,-5.35,31.67), (-0.77,31.39,2.01,31.67), (5.34,31.39,9.84,31.67), (1.62,32.03,2.12,32.53), (-7.265,32.32,-6.765,36.32), (-5.455,32.32,-4.955,36.32), (-1.155,32.32,-0.655,36.32), (0.655,32.32,1.155,36.32), (4.955,32.32,5.455,36.32), (6.765,32.32,7.265,36.32), (-8.82,36.87,-8.32,37.75), (-2.73,36.87,-2.23,37.75), (7.71,36.87,8.21,37.75), (-8.71,36.98,-4.82,37.26), (-2.62,36.98,-1.02,37.26), (4.81,36.98,8.1,37.26), (-8.82,37.25,-8.32,37.75), (-4.47,37.25,-3.97,38.17), (-4.47,37.25,-3.97,37.75), (-2.73,37.25,-2.23,37.75), (1.62,37.25,2.12,38.17), (1.62,37.25,2.12,37.75), (3.36,37.25,3.86,38.17), (3.36,37.25,3.86,37.75), (7.71,37.25,8.21,37.75), (-5.1,37.78,-4.08,38.06), (1.01,37.78,2.01,38.06), (3.47,37.78,5.09,38.06), (-8.435,38.56,-7.935,39.06), (-8.435,38.56,-7.935,39.06), (-8.435,38.56,-8.025,39.06), (-4.285,38.56,-3.785,39.06), (-4.285,38.56,-3.785,39.06), (-4.195,38.56,-3.785,39.06), (-2.325,38.56,-1.825,39.06), (-2.325,38.56,-1.825,39.06), (-2.325,38.56,-1.915,39.06), (1.825,38.56,2.325,39.06), (1.825,38.56,2.325,39.06), (1.915,38.56,2.325,39.06), (3.785,38.56,4.285,39.06), (3.785,38.56,4.285,39.06), (3.785,38.56,4.195,39.06), (7.935,38.56,8.435,39.06), (7.935,38.56,8.435,39.06), (8.025,38.56,8.435,39.06)])
A(vref_1v2, via2, -6.09, 29.54, 0.26, 0.26, 3, 1, 6.09, 0)
R(vref_1v2, via2, [(-6.96,0.83,-6.7,1.09), (0.87,0.83,1.13,1.09), (-1.74,6.92,-1.48,7.18), (1.74,6.92,2,7.18), (-0.87,7.79,-0.61,8.05), (6.96,7.79,7.22,8.05), (-4.35,9.53,-4.09,9.79), (4.35,9.53,4.61,9.79), (-3.48,13.88,-3.22,14.14), (2.61,13.88,2.87,14.14), (-3.48,16.49,-3.22,16.75), (2.61,16.49,2.87,16.75), (-5.22,21.71,-4.96,21.97), (5.22,21.71,5.48,21.97), (-0.87,22.58,-0.61,22.84), (0.87,22.58,1.13,22.84), (-9.57,31.28,-9.31,31.54), (9.57,31.28,9.83,31.54), (1.74,32.15,2,32.41), (-8.7,37.37,-8.44,37.63), (-4.35,37.37,-4.09,37.63), (-2.61,37.37,-2.35,37.63), (1.74,37.37,2,37.63), (3.48,37.37,3.74,37.63), (7.83,37.37,8.09,37.63)])
R(vref_1v2, via3, [(-6.09,0.83,-5.83,1.09), (3.48,0.83,3.74,1.09), (0,7.79,0.26,8.05), (3.48,7.79,3.74,8.05), (-1.74,20.84,-1.48,21.1), (0,20.84,0.26,21.1), (-5.22,29.54,-4.96,29.8), (-0.87,29.54,-0.61,29.8), (6.09,29.54,6.35,29.8), (-6.09,37.37,-5.83,37.63), (0,37.37,0.26,37.63), (3.48,37.37,3.74,37.63), (6.09,37.37,6.35,37.63)])
R(vref_1v2, via4, [(-0.87,29.54,-0.61,29.8), (6.09,29.54,6.35,29.8)])
A(vref_1v2, metal3, -0.12, 7.67, 0.5, 0.5, 3, 1, 3.48, 0)
A(vref_1v2, metal3, -6.21, 37.25, 0.5, 0.5, 3, 1, 1.74, 0)
A(vref_1v2, metal3, -0.12, 37.25, 0.5, 0.5, 3, 1, 1.74, 0)
R(vref_1v2, metal3, [(-7.11,0.68,-5.68,1.24), (-7.08,0.71,-6.58,1.21), (-6.21,0.71,-5.71,1.21), (0.75,0.71,1.25,1.21), (3.36,0.71,3.86,1.21), (0.86,0.82,3.75,1.1), (-1.89,6.77,-1.33,10.81), (1.59,6.77,2.15,9.94), (-1.86,6.8,-1.36,7.3), (1.62,6.8,2.12,7.3), (-0.99,7.67,-0.49,8.17), (-0.88,7.78,0.27,8.06), (3.47,7.78,7.23,8.06), (-4.5,9.38,-3.94,14.29), (-1.89,9.38,4.76,9.94), (-4.47,9.41,-3.97,9.91), (4.23,9.41,4.73,9.91), (-4.5,10.25,-1.33,10.81), (-5.37,13.73,-3.94,14.29), (-5.37,13.73,-4.81,22.12), (-4.5,13.73,-3.07,14.29), (-3.63,13.73,3.02,14.29), (-3.6,13.76,-3.1,14.26), (2.49,13.76,2.99,14.26), (-3.6,16.37,-3.1,16.87), (2.49,16.37,2.99,16.87), (-3.49,16.48,-3.21,22.85), (-2.62,16.48,2.88,16.76), (-2.62,16.48,-2.34,17.63), (-3.49,17.35,-2.34,17.63), (-1.86,20.72,-1.36,21.22), (-0.12,20.72,0.38,21.22), (-1.75,20.83,-1.47,21.98), (-0.01,20.83,5.49,21.11), (5.21,20.83,5.49,21.98), (-5.34,21.59,-4.84,22.09), (5.1,21.59,5.6,22.09), (-1.75,21.7,1.14,21.98), (0.86,21.7,1.14,22.85), (-0.99,22.46,-0.49,22.96), (0.75,22.46,1.25,22.96), (-3.49,22.57,-0.6,22.85), (-1.75,22.57,-1.47,23.72), (-1.75,23.44,2.01,23.72), (1.73,23.44,2.01,32.42), (-6.24,29.39,0.41,29.95), (-6.21,29.42,-5.71,29.92), (-5.34,29.42,-4.84,29.92), (-0.99,29.42,-0.49,29.92), (-0.12,29.42,0.38,29.92), (5.97,29.42,6.47,29.92), (5.97,29.42,6.47,29.92), (-9.69,31.16,-9.19,31.66), (9.45,31.16,9.95,31.66), (-9.58,31.27,2.01,31.55), (-4.36,31.27,-4.08,37.64), (1.73,31.27,9.84,31.55), (1.62,32.03,2.12,32.53), (-8.85,37.22,-5.68,37.78), (-6.24,37.22,-5.68,38.65), (-3.63,37.22,-2.2,37.78), (-3.63,37.22,-3.07,38.65), (5.94,37.22,8.24,37.78), (-8.82,37.25,-8.32,37.75), (3.36,37.25,3.86,37.75), (5.97,37.25,6.47,37.75), (7.71,37.25,8.21,37.75), (-0.01,37.36,2.01,37.64), (-6.24,38.09,-3.07,38.65)])
R(vref_1v2, metal3_pin, [(-5.37,17.645,-4.81,18.205)])
R(vref_1v2, metal4, [(-6.24,0.68,-5.68,29.95), (-6.21,0.71,-5.71,1.21), (3.36,0.71,3.86,1.21), (3.47,0.82,3.75,8.06), (-0.12,7.67,0.38,8.17), (3.36,7.67,3.86,8.17), (-0.01,7.78,0.27,21.11), (3.47,7.78,3.75,37.64), (-1.86,20.72,-1.36,21.22), (-0.12,20.72,0.38,21.22), (-1.75,20.83,-1.47,21.98), (-1.75,21.7,0.27,21.98), (-0.01,21.7,0.27,37.64), (-6.24,29.39,-5.68,37.78), (-6.24,29.39,-4.81,29.95), (5.94,29.39,6.5,37.78), (-5.34,29.42,-4.84,29.92), (-0.99,29.42,-0.49,29.92), (-0.99,29.42,-0.49,29.92), (5.97,29.42,6.47,29.92), (5.97,29.42,6.47,29.92), (-6.21,37.25,-5.71,37.75), (-0.12,37.25,0.38,37.75), (3.36,37.25,3.86,37.75), (5.97,37.25,6.47,37.75)])
R(vref_1v2, metal4_pin, [(-6.24,15.035,-5.68,15.595), (3.47,22.57,3.75,22.85)])
R(vref_1v2, metal5, [(-1.02,29.39,6.5,29.95), (-0.99,29.42,-0.49,29.92), (5.97,29.42,6.47,29.92)])
R(vref_1v2, lvpwell, [(-6.485,0,-1.375,9.09), (1.625,0,6.485,9.09), (-5.61,15.09,-0.5,24.18), (0.5,15.09,5.61,24.18)])
vref_1v2.add(gdstk.Label('vref', (3.61,22.71), layer=46, texttype=10))
vref_1v2.add(gdstk.Label('vss', (-5.09,17.925), layer=42, texttype=10))
vref_1v2.add(gdstk.Label('vdd', (-5.96,15.315), layer=46, texttype=10))

lib.write_gds('vref_1v2.gds')
